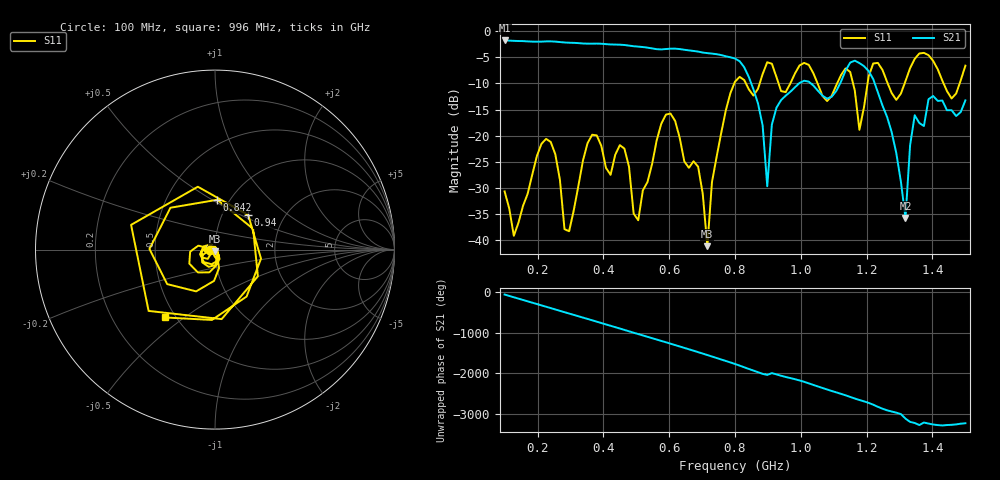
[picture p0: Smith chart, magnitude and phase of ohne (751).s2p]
! NanoVNA-App
! Date: 2025-09-25 14:26:39
! Start: 100MHz Stop: 1,5GHz Points: 101
! S-Parameter data: F S11 S21 S12 S22
# Hz S RI R 50
!  Frequency  S11_Real  S11_Imag  S21_Real  S21_Imag  S12_Real  S12_Imag  S22_Real  S22_Imag
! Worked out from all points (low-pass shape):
!   101 points, 100 MHz to 1.5 GHz, reference 50 ohm
!   highest |S21| = -1.79 dB at 100 MHz (marker M1); lowest = -35.7 dB at 1.318 GHz (marker M2)
!   |S21| within 3 dB of the highest: start of sweep to 770.8 MHz
!   lowest |S11| = -41.1 dB at 716 MHz (marker M3), VSWR 1.02, Z = 49.7 - j0.837 ohm
!   |S11| at or under -10 dB: start of sweep to 797.9 MHz; 833.1 MHz to 875 MHz (41.93 MHz wide, 4.91 % of centre); 1.051 GHz to 1.11 GHz (59.44 MHz wide, 5.5 % of centre) (the widest 3 of 7)
!   S12 and S22 are empty: the file has one direction only
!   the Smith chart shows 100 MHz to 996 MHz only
!   S11 on the Smith chart (normalised r, x): 100 MHz: 0.94, -0.01; 842 MHz: 0.88, +0.53; 940 MHz: 1.32, +0.55; 996 MHz: 0.44, -0.43
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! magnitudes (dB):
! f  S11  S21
! 100 MHz  -30.6  -1.8
! 128 MHz  -39.1  -1.9
! 226 MHz  -20.6  -2.0
! 296 MHz  -38.2  -2.2
! 338 MHz  -24.8  -2.4
! 464 MHz  -22.5  -2.7
! 506 MHz  -36.1  -3.0
! 576 MHz  -17.7  -3.5
! 688 MHz  -25.9  -3.9
! 716 MHz  -41.1  -4.2
! 800 MHz  -9.7  -5.2
! 842 MHz  -11.1  -8.8
! 898 MHz  -6.0  -29.6
! 940 MHz  -11.5  -13.2
! 996 MHz  -6.6  -9.9
! 1.038 GHz  -8.0  -10.4
! 1.178 GHz  -18.9  -6.1
! 1.22 GHz  -6.2  -9.2
! 1.276 GHz  -11.8  -19.3
! 1.318 GHz  -9.6  -35.7
! 1.346 GHz  -5.3  -16.1
! 1.5 GHz  -6.6  -13.2
